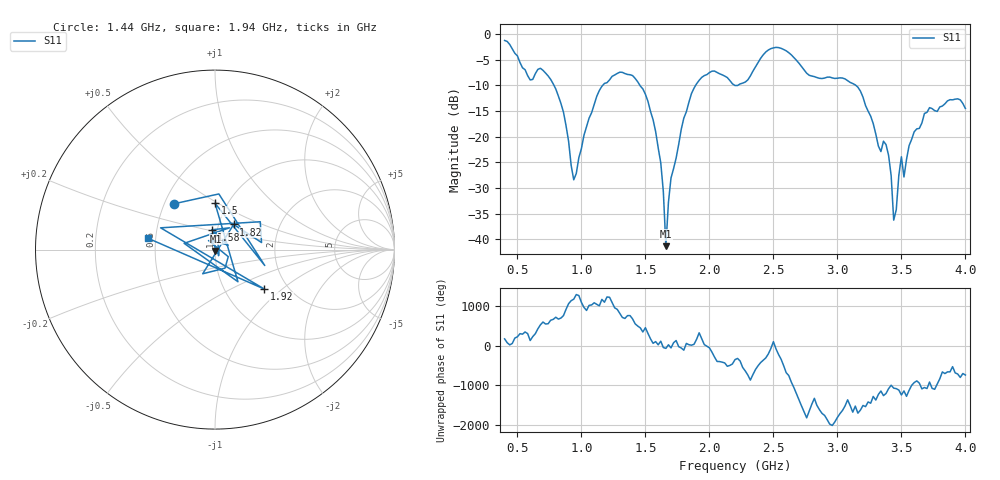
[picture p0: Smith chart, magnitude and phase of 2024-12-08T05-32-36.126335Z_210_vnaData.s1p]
!Created with skrf (http://scikit-rf.org).
# Hz S RI R 50.0
!freq ReS11 ImS11
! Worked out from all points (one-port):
!   181 points, 400 MHz to 4 GHz, reference 50 ohm
!   lowest |S11| = -41.3 dB at 1.66 GHz (marker M1), VSWR 1.02, Z = 50.3 - j0.819 ohm
!   |S11| at or under -10 dB: 785 MHz to 1.168 GHz (382.7 MHz wide, 39.2 % of centre); 1.456 GHz to 1.893 GHz (437.1 MHz wide, 26.1 % of centre); 3.143 GHz to end of sweep (the widest 3 of 4)
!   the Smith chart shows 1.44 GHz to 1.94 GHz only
!   S11 on the Smith chart (normalised r, x): 1.44 GHz: 0.56, +0.33; 1.5 GHz: 0.88, +0.48; 1.58 GHz: 0.94, +0.21; 1.82 GHz: 1.18, +0.34; 1.92 GHz: 1.53, -0.77; 1.94 GHz: 0.46, +0.07
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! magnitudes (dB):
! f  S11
! 400 MHz  -1.3
! 740 MHz  -8.2
! 860 MHz  -15.3
! 940 MHz  -28.4
! 1.12 GHz  -12.2
! 1.3 GHz  -7.5
! 1.44 GHz  -9.3
! 1.5 GHz  -11.8
! 1.58 GHz  -19.0
! 1.64 GHz  -30.7
! 1.66 GHz  -41.3
! 1.7 GHz  -28.1
! 1.76 GHz  -21.5
! 1.82 GHz  -15.2
! 1.92 GHz  -9.0
! 1.94 GHz  -8.5
! 2.2 GHz  -10.1
! 2.48 GHz  -2.9
! 2.66 GHz  -4.6
! 3.1 GHz  -9.5
! 3.38 GHz  -21.6
! 3.42 GHz  -27.6
! 3.44 GHz  -36.3
! 3.5 GHz  -23.9
! 3.52 GHz  -27.9
! 3.56 GHz  -21.8
! 3.72 GHz  -14.4
! 4 GHz  -14.5
